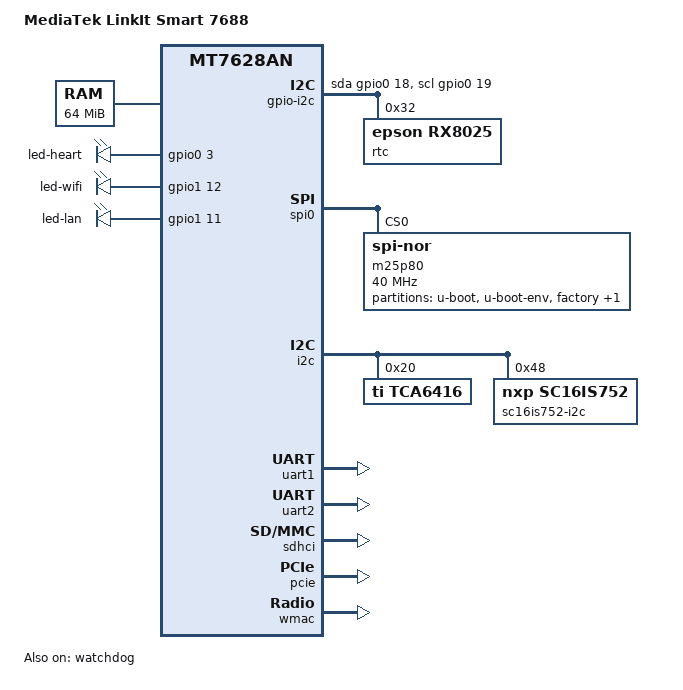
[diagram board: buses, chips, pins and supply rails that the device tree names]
/dts-v1/;

#include "mt7628an.dtsi"

#include <dt-bindings/gpio/gpio.h>
#include <dt-bindings/input/input.h>

/ {
	compatible = "mediatek,linkit-smart-7688", "mediatek,mt7628an-soc";
	model = "MediaTek LinkIt Smart 7688";

	chosen {
		bootargs = "console=ttyS0,57600";
	};

	aliases {
		serial0 = &uartlite; //ql origin @uart2
	};

	memory@0 {
		device_type = "memory";
		reg = <0x0 0x4000000>;
	};

	bootstrap {
		compatible = "mediatek,linkit";
		status = "okay";
	};
	/*gpio-spi {
		compatible = "spi-gpio";
		#address-cells = <1>;
		#size-cells = <0>;

		cs-gpios = <&gpio0 14 1>;
		gpio-sck = <&gpio0 15 1>;
		gpio-miso = <&gpio0 16 1>;
		gpio-mosi = <&gpio0 17 1>;
		num-chipselects = <1>;

		spidev@0 {
			#address-cells = <1>;
			#size-cells = <1>;
			compatible = "rohm,dh2228fv";
			reg = <0>;
			spi-max-frequency = <40000000>;
		};
	};*/

	/*gpio-i2c-uart { 
		compatible = "i2c-gpio";
		gpios = <&gpio0 16 1 // sda
			&gpio0 17 1 // scl
			 >; 
		//i2c-gpio,delay-us = <10>;	// ~20 kHz 
		#address-cells = <1>;
		#size-cells = <0>;
		
		sc16is752@48 {
			#address-cells = <1>;
			#size-cells = <1>;
			compatible = "nxp,sc16is752";
			reg = <0x48>;
			clk-freq = <1843200>;
			irq-gpio = <14>;
			gpio-controller;
			#gpio-cells = <2>;
		};
		 
	};*/

	gpio-i2c { 
		compatible = "i2c-gpio";
		gpios = <&gpio0 18 1 /* sda*/ 
			&gpio0 19 1 /* scl*/ >; 
		i2c-gpio,delay-us = <10>;	/* ~20 kHz */
		#address-cells = <1>;
		#size-cells = <0>;
		
		rtc@32 { 
			compatible = "epson,rx8025";
			reg = <0x32>; 
		};
		 
	};

	gpio-leds {
		compatible = "gpio-leds";

		heart {
			label = "led-heart";
			gpios = <&gpio0 3 GPIO_ACTIVE_HIGH>;
		};

		wifi {
			label = "led-wifi";
			gpios = <&gpio1 12 GPIO_ACTIVE_HIGH>;
		};

		lan {
			label = "led-lan";
			gpios = <&gpio1 11 GPIO_ACTIVE_HIGH>;
		};
	};

/*	gpio-keys-polled {
		compatible = "gpio-keys-polled";
		#address-cells = <1>;
		#size-cells = <0>;
		poll-interval = <20>;

		wps {
			label = "reset";
			gpios = <&gpio1 6 GPIO_ACTIVE_LOW>;
			linux,code = <KEY_WPS_BUTTON>;
		};
	};*/
};

&pinctrl {
	state_default: pinctrl0 {
		gpio {
			ralink,group = "gpio";
			ralink,function = "gpio";
		};

		refclk {
			ralink,group = "refclk";
			ralink,function = "gpio";
		};

		i2s {
			ralink,group = "i2s";
			ralink,function = "gpio";
		};

		spis {
			ralink,group = "spis";
			ralink,function = "gpio";
		};

		pwm0 {
			ralink,group = "pwm0";
			ralink,function = "gpio";
		};

		pwm1 {
			ralink,group = "pwm1";
			ralink,function = "gpio";
		};

		wled_an {
			ralink,group = "wled_an";
			ralink,function = "gpio";
		};

		wdt {
			ralink,group = "wdt";
			ralink,function = "wdt";
		};

		p0led_an {
			ralink,group = "p0led_an";
			ralink,function = "gpio";
		};

		p1led_an {
			ralink,group = "p1led_an";
			ralink,function = "gpio";
		};

		p2led_an {
			ralink,group = "p2led_an";
			ralink,function = "gpio";
		};

		p3led_an {
			ralink,group = "p3led_an";
			ralink,function = "gpio";
		};

		p4led_an {
			ralink,group = "p4led_an";
			ralink,function = "gpio";
		};
	};

};

&spi0 {
	status = "okay";

	pinctrl-names = "default";
	pinctrl-0 = <&spi_pins>, <&spi_cs1_pins>;

	m25p80@0 {
		#address-cells = <1>;
		#size-cells = <1>;
		compatible = "jedec,spi-nor";
		reg = <0>;
		spi-max-frequency = <40000000>;
		m25p,chunked-io = <31>;

		partition@0 {
			label = "u-boot";
			reg = <0x0 0x30000>;
			read-only;
		};

		partition@30000 {
			label = "u-boot-env";
			reg = <0x30000 0x10000>;
		};

		factory: partition@40000 {
			label = "factory";
			reg = <0x40000 0x10000>;
			read-only;
		};

		partition@50000 {
			label = "firmware";
			reg = <0x50000 0x1fb0000>;
		};
	};
	/*sc16is752@1 {
		#address-cells = <1>;
		#size-cells = <1>;
		compatible = "nxp,sc16is752";
		reg = <1 0>;
		spi-max-frequency = <100000>;
		//clocks = <&clk20m>;
		interrupts = <&gpio0 14>;
		gpio-controller;
		#gpio-cells = <2>;
	};*/
};

&i2c {
	status = "okay";
	tca6416@20 {
		compatible = "ti,tca6416";
		reg = <0x20>;
		irq-gpio = <11>;
		gpio-controller;
		#gpio-cells = <2>;
	};
	sc16is752-i2c@48 {
		#address-cells = <1>;
		#size-cells = <1>;
		compatible = "nxp,sc16is752";
		reg = <0x48>;
		clk-freq = <1843200>;
		irq-gpio = <14>;
		gpio-controller;
		#gpio-cells = <2>;
	};
};

&uart1 {
	status = "okay";
};

&uart2 {
	status = "okay";
};

&ethernet {
	mtd-mac-address = <&factory 0x28>;
};

&sdhci {
	status = "okay";
	mediatek,cd-high;
};

&pcie {
	status = "okay";
};

&wmac {
	status = "okay";
};

&watchdog{
	status = "okay";
};

